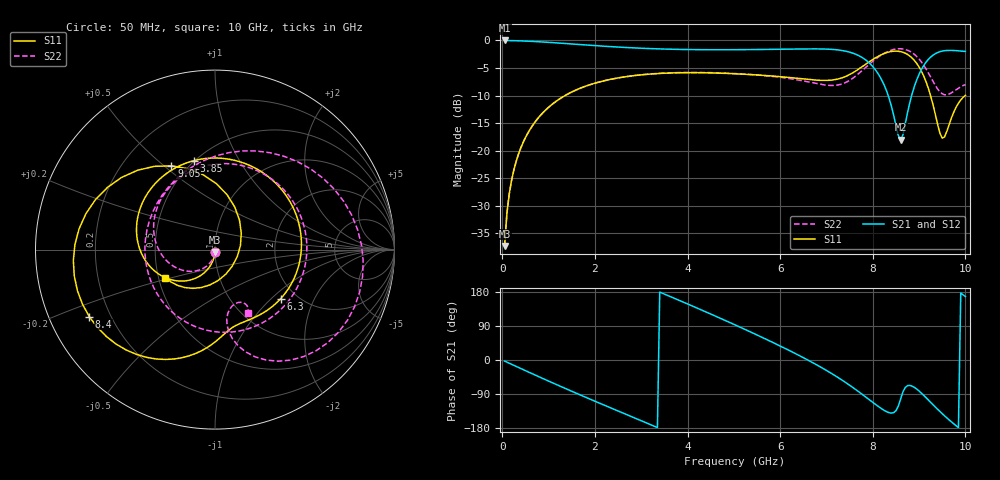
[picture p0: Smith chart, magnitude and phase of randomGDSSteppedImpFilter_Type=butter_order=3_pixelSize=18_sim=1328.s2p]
! freq	dB(S11)	phase(S11)	dB(S12)	phase(S12)
!  dB(S21)	phase(S21)	dB(S22)	phase(S22)
!S-par simulation data
#  GHz  S  DB  R 50
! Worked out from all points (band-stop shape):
!   200 points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, 50 MHz to 10 GHz, reference 50 ohm
!   highest |S21| = -0.01 dB at 50 MHz (marker M1); lowest = -18.0 dB at 8.6 GHz (marker M2)
!   |S21| within 3 dB of the highest: start of sweep to 7.752 GHz; 9.252 GHz to end of sweep
!   lowest |S11| = -37.3 dB at 50 MHz (marker M3), VSWR 1.03, Z = 49.9 - j1.37 ohm
!   |S11| at or under -10 dB: start of sweep to 1.354 GHz; 9.248 GHz to 9.995 GHz (747.4 MHz wide, 7.77 % of centre)
!   |S22| runs from -37.3 to -1.5 dB; largest |S21 - S12| = 0
!   S11 on the Smith chart (normalised r, x): 50 MHz: 1.00, -0.03; 3.85 GHz: 0.50, +0.66; 6.3 GHz: 1.65, -1.15; 8.4 GHz: 0.12, -0.25; 9.05 GHz: 0.41, +0.53; 10 GHz: 0.54, -0.19
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0.05  -37.26 -92.4  -0.01 -2.9  -0.01 -2.9  -37.31 -93.0
0.2  -25.38 -99.2  -0.03 -11.3  -0.03 -11.3  -25.39 -103.7
0.5  -17.62 -113.0  -0.12 -28.1  -0.12 -28.1  -17.63 -124.2
1.15  -11.11 -141.5  -0.43 -63.8  -0.43 -63.8  -11.12 -167.4
1.75  -8.45 -166.6  -0.79 -95.7  -0.79 -95.7  -8.46 153.8
2.65  -6.60 156.6  -1.27 -142.3  -1.27 -142.3  -6.59 97.6
3.4  -5.99 124.4  -1.54 179.2  -1.54 179.2  -5.97 53.1
3.85  -5.86 103.3  -1.63 155.8  -1.63 155.8  -5.82 27.8
5.05  -6.05 38.2  -1.68 91.4  -1.68 91.4  -6.02 -34.4
5.65  -6.34 1.7  -1.64 57.5  -1.64 57.5  -6.37 -64.7
6.3  -6.81 -36.9  -1.57 18.8  -1.57 18.8  -7.04 -102.7
6.7  -7.15 -57.4  -1.53 -6.8  -1.53 -6.8  -7.68 -133.6
7.2  -7.08 -76.5  -1.68 -42.3  -1.68 -42.3  -8.13 170.5
7.6  -5.71 -90.5  -2.40 -75.2  -2.40 -75.2  -6.66 111.4
8  -3.46 -114.3  -4.74 -111.7  -4.74 -111.7  -3.78 53.4
8.35  -2.10 -146.5  -10.42 -138.9  -10.42 -138.9  -1.91 7.9
8.4  -2.01 -151.9  -11.85 -140.1  -11.85 -140.1  -1.76 1.8
8.6  -2.03 -175.6  -18.03 -103.6  -18.03 -103.6  -1.51 -22.2
9.05  -5.58 117.5  -5.28 -87.4  -5.28 -87.4  -3.90 -69.5
9.3  -11.63 65.2  -2.68 -117.8  -2.68 -117.8  -7.41 -80.9
9.5  -17.71 -17.4  -1.94 -141.7  -1.94 -141.7  -9.68 -72.9
10  -9.96 -150.7  -2.00 167.4  -2.00 167.4  -8.01 -62.7
